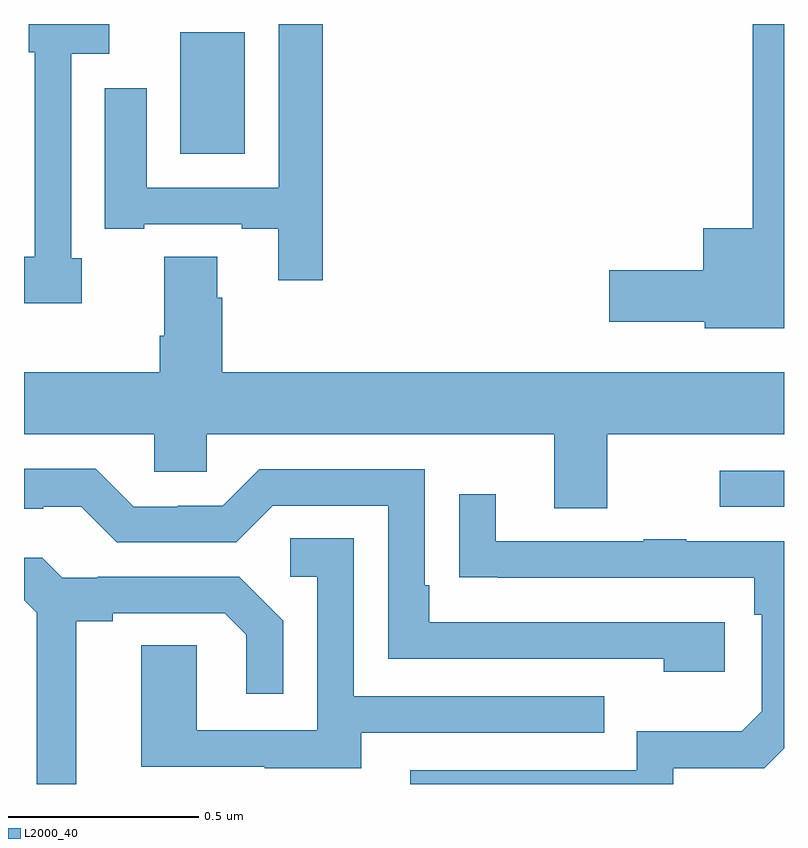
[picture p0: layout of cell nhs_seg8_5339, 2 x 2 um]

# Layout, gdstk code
import gdstk
lib = gdstk.Library(unit=1e-6, precision=1e-09)
def R(c, l, rs):  # rectangles x0, y0, x1, y1
    for r in rs: c.add(gdstk.rectangle(r[:2], r[2:], *l))
def P(c, l, *ps):  # polygons
    for p in ps: c.add(gdstk.Polygon(p, *l))
L2000_40 = (2000, 40)

nhs_seg8_5339 = lib.new_cell('nhs_seg8_5339')
R(nhs_seg8_5339, L2000_40, [(183.831,1129.629,184,1129.725), (182.411,1130.558,182.581,1130.878)])
P(nhs_seg8_5339, L2000_40, [(184,1130.9),(183.918,1130.9),(183.918,1130.362),(183.788,1130.362),(183.788,1130.252),(183.54,1130.252),(183.54,1130.117),(183.792,1130.117),(183.792,1130.099),(184,1130.099)],
  [(182.152,1130.283),(182.124,1130.283),(182.124,1130.822),(182.224,1130.822),(182.224,1130.9),(182.012,1130.9),(182.012,1130.826),(182.028,1130.826),(182.028,1130.287),(182,1130.287),(182,1130.165),(182.152,1130.165)],
  [(182.786,1130.9),(182.67,1130.9),(182.67,1130.469),(182.323,1130.469),(182.323,1130.731),(182.213,1130.731),(182.213,1130.361),(182.317,1130.361),(182.317,1130.373),(182.573,1130.373),(182.573,1130.361),(182.669,1130.361),(182.669,1130.226),(182.786,1130.226)],
  [(183.535,1129.82),(184,1129.82),(184,1129.984),(182.522,1129.984),(182.522,1130.18),(182.509,1130.18),(182.509,1130.288),(182.369,1130.288),(182.369,1130.08),(182.357,1130.08),(182.357,1129.984),(182,1129.984),(182,1129.82),(182.343,1129.82),(182.343,1129.722),(182.481,1129.722),(182.481,1129.82),(183.395,1129.82),(183.395,1129.626),(183.535,1129.626)],
  [(183.844,1129.326),(183.067,1129.326),(183.067,1129.423),(183.054,1129.423),(183.054,1129.728),(182.619,1129.728),(182.523,1129.632),(182.405,1129.632),(182.405,1129.629),(182.289,1129.629),(182.189,1129.729),(182,1129.729),(182,1129.625),(182.051,1129.625),(182.051,1129.629),(182.151,1129.629),(182.244,1129.536),(182.559,1129.536),(182.655,1129.632),(182.958,1129.632),(182.958,1129.23),(183.683,1129.23),(183.683,1129.196),(183.844,1129.196)],
  [(183.708,1128.942),(183.948,1128.942),(184,1128.994),(184,1129.539),(183.743,1129.539),(183.743,1129.544),(183.631,1129.544),(183.631,1129.539),(183.241,1129.539),(183.241,1129.663),(183.145,1129.663),(183.145,1129.444),(183.247,1129.444),(183.247,1129.443),(183.922,1129.443),(183.922,1129.346),(183.942,1129.346),(183.942,1129.092),(183.889,1129.039),(183.612,1129.039),(183.612,1128.936),(183.017,1128.936),(183.017,1128.9),(183.708,1128.9)],
  [(182.887,1129.035),(183.527,1129.035),(183.527,1129.131),(182.868,1129.131),(182.868,1129.547),(182.7,1129.547),(182.7,1129.446),(182.772,1129.446),(182.772,1129.041),(182.454,1129.041),(182.454,1129.265),(182.309,1129.265),(182.309,1128.945),(182.633,1128.945),(182.633,1128.941),(182.887,1128.941)],
  [(182.137,1129.328),(182.233,1129.328),(182.233,1129.35),(182.528,1129.35),(182.585,1129.293),(182.585,1129.137),(182.682,1129.137),(182.682,1129.33),(182.566,1129.446),(182.194,1129.446),(182.194,1129.443),(182.1,1129.443),(182.048,1129.495),(182,1129.495),(182,1129.384),(182.033,1129.351),(182.033,1128.9),(182.137,1128.9)])

lib.write_gds('nhs_seg8_5339.gds')
